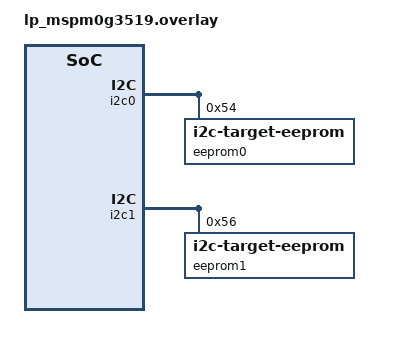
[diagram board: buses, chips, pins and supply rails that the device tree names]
/*
 * Copyright (c) 2026 Texas Instruments Incorporated
 *
 * SPDX-License-Identifier: Apache-2.0
 */

/*
 * I2C loopback wiring for LP-MSPM0G3519:
 *
 *   i2c1 (controller): PB2 = SCL, PB3 = SDA
 *   i2c0 (target):     PA31 = SCL, PA28 = SDA
 *
 * Wire PB2 <-> PA31 (SCL) and PB3 <-> PA28 (SDA).
 * Internal pull-ups are enabled on all four pins.
 */

&pinctrl {
	i2c1_scl_pb2_pu: i2c1_scl_pb2_pu {
		pinmux = <MSP_PINMUX(15, MSPM0_PIN_FUNCTION_4)>;
		input-enable;
		drive-open-drain;
		bias-pull-up;
	};

	i2c1_sda_pb3_pu: i2c1_sda_pb3_pu {
		pinmux = <MSP_PINMUX(16, MSPM0_PIN_FUNCTION_4)>;
		input-enable;
		drive-open-drain;
		bias-pull-up;
	};

	i2c0_scl_pa31_pu: i2c0_scl_pa31_pu {
		pinmux = <MSP_PINMUX(6, MSPM0_PIN_FUNCTION_3)>;
		input-enable;
		drive-open-drain;
		bias-pull-up;
	};

	i2c0_sda_pa28_pu: i2c0_sda_pa28_pu {
		pinmux = <MSP_PINMUX(3, MSPM0_PIN_FUNCTION_3)>;
		input-enable;
		drive-open-drain;
		bias-pull-up;
	};
};

&i2c0 {
	pinctrl-0 = <&i2c0_scl_pa31_pu &i2c0_sda_pa28_pu>;
	pinctrl-names = "default";
	status = "okay";

	eeprom0: eeprom@54 {
		compatible = "zephyr,i2c-target-eeprom";
		reg = <0x54>;
		address-width = <8>;
		size = <256>;
	};
};

&i2c1 {
	pinctrl-0 = <&i2c1_scl_pb2_pu &i2c1_sda_pb3_pu>;
	pinctrl-names = "default";
	status = "okay";

	eeprom1: eeprom@56 {
		compatible = "zephyr,i2c-target-eeprom";
		reg = <0x56>;
		address-width = <8>;
		size = <256>;
	};
};
